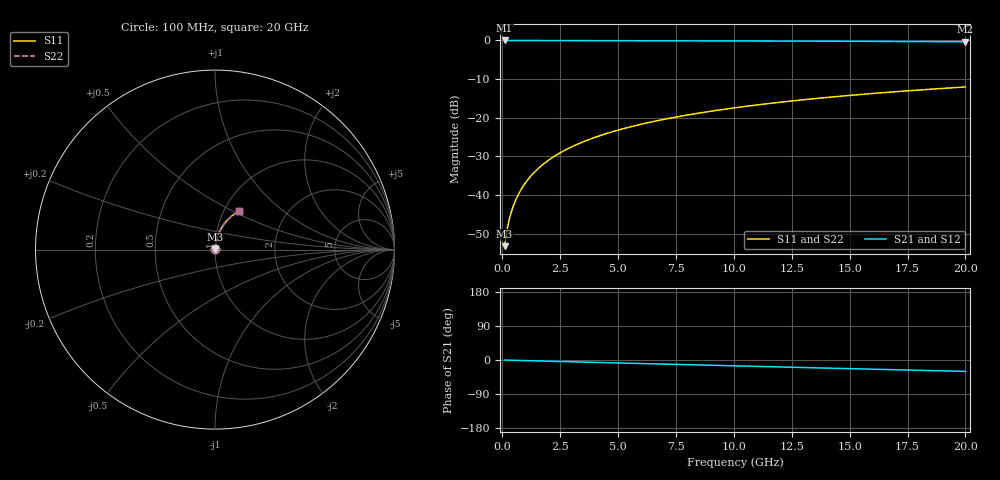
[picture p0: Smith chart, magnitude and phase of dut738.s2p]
! Touchstone file exported from HFSS 2026.1.0
!  File:  C:/ffzhzh/LocalFiles/Ansys_Project_Files/temp_train_TMRDL_738_1783155044_55132.aedt
!  Generated:  04:51:57 PM Jul  4, 2026
!  Design:  TMRDL
!  Project:  temp_train_TMRDL_738_1783155044_55132
! Variables:
!  h_bsmrdl = 2um
!  h_ox = 20um
!  h_rdl = 5um
!  h_sub = 80um
!  h_tmrdl = 4.12um
!  h_tsv = 80um
!  h_via = 3um
!  l_bsmrdl = 300um
!  l_sub = 833.68um
!  l_tmrdl = 433.68um
!  m_sub = 200um
!  pitch = 53.93um
!  r_tsv = 6um
!  s_tmrdl = 10um
!  w_bsmrdl = 18um
!  w_sub = 500um
!  w_tmrdl = 29.65um
!  x_tsv_center1 = 448.505um
!  x_tsv_center2 = 766.505um
!  x_tsv_center3 = 1229.835um
!  x_tsv_center4 = 1547.835um
!  x_tsv_center5 = 2011.165um
!  x_tsv_center6 = 2329.165um
# GHz S MA R 50.000000
! Terminal data exported
! Port[1] = TM_RDL1_1_T1
! Port[2] = TM_RDL1_1_T2
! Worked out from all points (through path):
!   200 points, 100 MHz to 20 GHz, reference 50 ohm
!   highest |S21| = -0.01 dB at 100 MHz (marker M1); lowest = -0.3 dB at 20 GHz (marker M2)
!   group delay of S21, straight-line fit = 4.17 ps
!   lowest |S11| = -53.2 dB at 100 MHz (marker M3), VSWR 1.00, Z = 50.2 + j0.159 ohm
!   |S11| at or under -10 dB: start of sweep to end of sweep
!   |S22| runs from -53.2 to -12.0 dB; largest |S21 - S12| = 5.5e-15
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0.1  0.00218 46.5  0.9985 -0.2  0.9985 -0.2  0.00218 46.5
! Gamma 0 0 0 0
! Port Impedance 50 0 50 0
0.2  0.003485 61.9  0.9984 -0.3  0.9984 -0.3  0.003485 61.9
0.3  0.004834 68.5  0.9983 -0.5  0.9983 -0.5  0.004834 68.5
0.4  0.006179 72.2  0.9982 -0.6  0.9982 -0.6  0.00618 72.2
0.5  0.007529 74.7  0.9981 -0.8  0.9981 -0.8  0.007529 74.7
0.7  0.01025 77.9  0.998 -1.1  0.998 -1.1  0.01025 77.9
0.9  0.013 79.6  0.9979 -1.4  0.9979 -1.4  0.013 79.6
1.1  0.01576 80.7  0.9978 -1.7  0.9978 -1.7  0.01576 80.7
1.5  0.02131 81.8  0.9976 -2.4  0.9976 -2.4  0.02131 81.8
1.8  0.02548 82.1  0.9975 -2.8  0.9975 -2.8  0.02548 82.1
2.1  0.02964 82.1  0.9972 -3.3  0.9972 -3.3  0.02964 82.1
2.7  0.03793 81.9  0.9967 -4.2  0.9967 -4.2  0.03793 81.9
3.5  0.0489 81.1  0.9959 -5.5  0.9959 -5.5  0.0489 81.1
4.2  0.0584 80.3  0.9951 -6.6  0.9951 -6.6  0.05841 80.3
5  0.06915 79.2  0.9941 -7.8  0.9941 -7.8  0.06916 79.2
5.9  0.08111 78.0  0.9928 -9.2  0.9928 -9.2  0.08111 78.0
6.8  0.09292 76.8  0.9914 -10.6  0.9914 -10.6  0.09292 76.8
8.3  0.1123 74.7  0.9888 -12.8  0.9888 -12.8  0.1123 74.7
10.1  0.1351 72.2  0.9854 -15.6  0.9854 -15.6  0.1351 72.1
13.4  0.1755 67.5  0.9783 -20.5  0.9783 -20.5  0.1755 67.5
16.7  0.2138 62.9  0.97 -25.3  0.97 -25.3  0.2139 62.8
20  0.2499 58.3  0.9609 -30.1  0.9609 -30.1  0.2499 58.2
